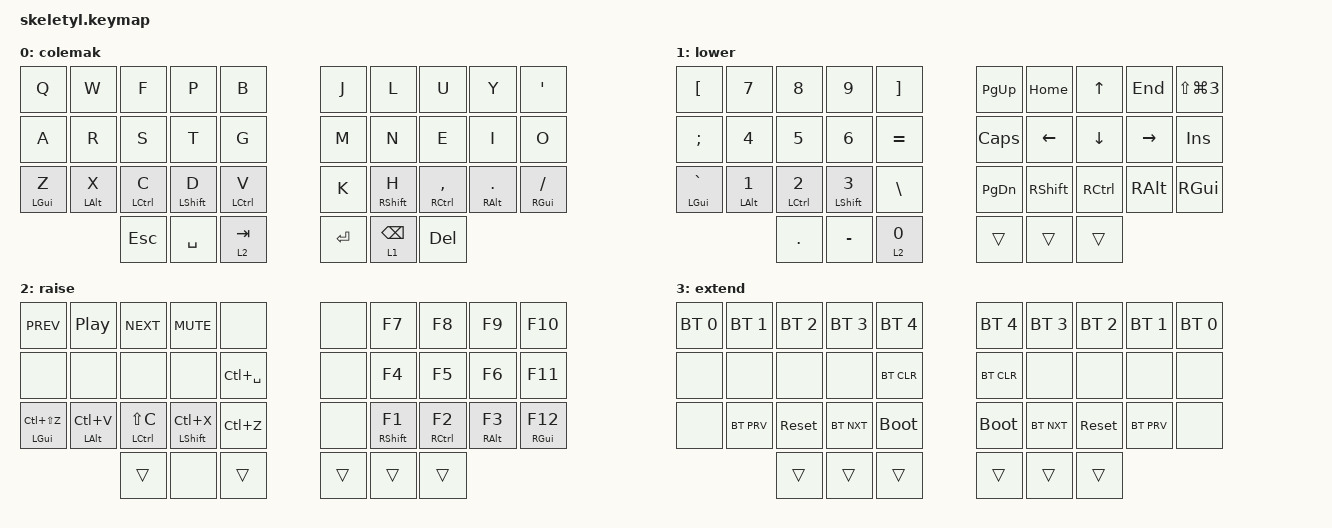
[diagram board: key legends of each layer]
/*
 * Copyright (c) 2023 Charly Delay <0xcharly>
 *
 * SPDX-License-Identifier: MIT
 */

#include <behaviors.dtsi>
#include <dt-bindings/zmk/bt.h>
#include <dt-bindings/zmk/keys.h>

#define COLEMAK 0
#define LOWER 1
#define RAISE 2
#define EXTEND 3

&lt {
    quick_tap_ms = <200>;
};

/ {
    conditional_layers {
        compatible = "zmk,conditional-layers";

        tri_layer {
            if-layers = <1 2>;
            then-layer = <3>;
        };
    };

    combos {
        compatible = "zmk,combos";

        QW_ESC {
            bindings = <&kp ESC>;
            key-positions = <1 0>;
            layers = <0>;
        };

        CAPS_WORD {
            bindings = <&caps_word>;
            key-positions = <23 26>;
            layers = <0>;
        };

        THUMB_DOT {
            bindings = <&kp PERIOD>;
            key-positions = <41 40 31 32>;
            layers = <1>;
        };

        LEFTSHIFT {
            bindings = <&kp LSHIFT>;
            key-positions = <11 12>;
            layers = <0>;
        };

        RIGHTSHIFT {
            bindings = <&kp RSHIFT>;
            key-positions = <18 17>;
            layers = <0>;
        };
    };

    behaviors {
        bhm: balanced_homerow_mods {
            compatible = "zmk,behavior-hold-tap";
            label = "HOMEROW_MODS";
            #binding-cells = <2>;
            tapping-term-ms = <200>;    // <---[[moderate duration]]
            quick-tap-ms = <0>;
            flavor = "balanced";
            bindings = <&kp>, <&kp>;
        };
    };

    keymap {
        compatible = "zmk,keymap";

        /** Traditional Colemak layout. */

        colemak {
            bindings = <
  &kp Q       &kp W       &kp F        &kp P         &kp B          &kp J      &kp L         &kp U            &kp Y            &kp SQT
  &kp A       &kp R       &kp S        &kp T         &kp G          &kp M      &kp N         &kp E            &kp I            &kp O
  &bhm LGUI Z  &bhm LALT X  &bhm LCTRL C  &bhm LSHIFT D  &bhm LCTRL V    &kp K      &bhm RSHIFT H  &bhm RCTRL COMMA  &bhm RALT PERIOD  &bhm RGUI FSLH
                          &kp ESC      &kp SPACE     &lt 2 TAB      &kp ENTER  &lt 1 BSPC    &kp DEL
            >;
        };

        lower {
            bindings = <
  &kp LBKT        &kp N7       &kp N8        &kp N9         &kp RBKT     &kp PG_UP  &kp HOME    &kp UP     &kp END    &kp LS(LG(NUMBER_3))
  &kp SEMI        &kp N4       &kp N5        &kp N6         &kp EQUAL    &kp CAPS   &kp LEFT    &kp DOWN   &kp RIGHT  &kp INS
  &bhm LGUI GRAVE  &bhm LALT N1  &bhm LCTRL N2  &bhm LSHIFT N3  &kp BSLH     &kp PG_DN  &kp RSHIFT  &kp RCTRL  &kp RALT   &kp RGUI
                               &kp DOT       &kp MINUS      &lt 2 N0     &trans     &trans      &trans
            >;
        };

        raise {
            bindings = <
  &kp C_PREV          &kp C_PP        &kp C_NEXT       &kp C_MUTE        &none            &none   &kp F7         &kp F8        &kp F9       &kp F10
  &none               &none           &none            &none             &kp LC(SPACE)    &none   &kp F4         &kp F5        &kp F6       &kp F11
  &bhm LGUI LC(LS(Z))  &bhm LALT LC(V)  &bhm LCTRL LS(C)  &bhm LSHIFT LC(X)  &kp LC(Z)        &none   &bhm RSHIFT F1  &bhm RCTRL F2  &bhm RALT F3  &bhm RGUI F12
                                      &trans           &none             &trans           &trans  &trans         &trans
            >;
        };

        extend {
            bindings = <
  &bt BT_SEL 0  &bt BT_SEL 1  &bt BT_SEL 2  &bt BT_SEL 3  &bt BT_SEL 4    &bt BT_SEL 4  &bt BT_SEL 3  &bt BT_SEL 2  &bt BT_SEL 1  &bt BT_SEL 0
  &none         &none         &none         &none         &bt BT_CLR      &bt BT_CLR    &none         &none         &none         &none
  &none         &bt BT_PRV    &sys_reset    &bt BT_NXT    &bootloader     &bootloader   &bt BT_NXT    &sys_reset    &bt BT_PRV    &none
                              &trans        &trans        &trans          &trans        &trans        &trans
            >;
        };
    };
};
